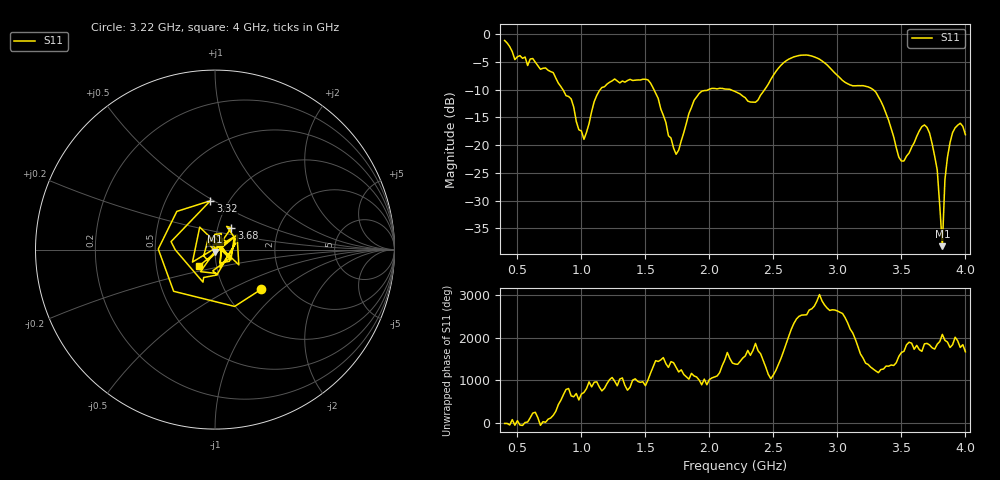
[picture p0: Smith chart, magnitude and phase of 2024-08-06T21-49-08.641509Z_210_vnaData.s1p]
!Created with skrf (http://scikit-rf.org).
# Hz S RI R 50.0
!freq ReS11 ImS11
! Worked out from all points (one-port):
!   181 points, 400 MHz to 4 GHz, reference 50 ohm
!   lowest |S11| = -38.2 dB at 3.82 GHz (marker M1), VSWR 1.02, Z = 50.1 - j1.23 ohm
!   |S11| at or under -10 dB: 855.1 MHz to 1.147 GHz (291.5 MHz wide, 29.1 % of centre); 1.567 GHz to 1.992 GHz (425.6 MHz wide, 23.9 % of centre); 3.28 GHz to end of sweep (the widest 3 of 4)
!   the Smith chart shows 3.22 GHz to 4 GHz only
!   S11 on the Smith chart (normalised r, x): 3.22 GHz: 1.47, -0.74; 3.32 GHz: 0.82, +0.48; 3.68 GHz: 1.16, +0.29; 4 GHz: 0.83, -0.15
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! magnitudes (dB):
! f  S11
! 400 MHz  -1.1
! 480 MHz  -4.6
! 620 MHz  -4.4
! 860 MHz  -10.2
! 920 MHz  -11.7
! 1.02 GHz  -19.0
! 1.14 GHz  -10.2
! 1.3 GHz  -8.8
! 1.52 GHz  -8.2
! 1.74 GHz  -21.6
! 1.76 GHz  -20.9
! 1.92 GHz  -10.7
! 2.2 GHz  -10.3
! 2.36 GHz  -12.3
! 2.66 GHz  -4.1
! 2.86 GHz  -4.5
! 3.1 GHz  -9.2
! 3.22 GHz  -9.4
! 3.32 GHz  -11.3
! 3.48 GHz  -22.2
! 3.56 GHz  -21.4
! 3.68 GHz  -16.4
! 3.78 GHz  -24.5
! 3.82 GHz  -38.2
! 3.84 GHz  -26.2
! 3.88 GHz  -19.5
! 3.96 GHz  -16.1
! 4 GHz  -18.1
